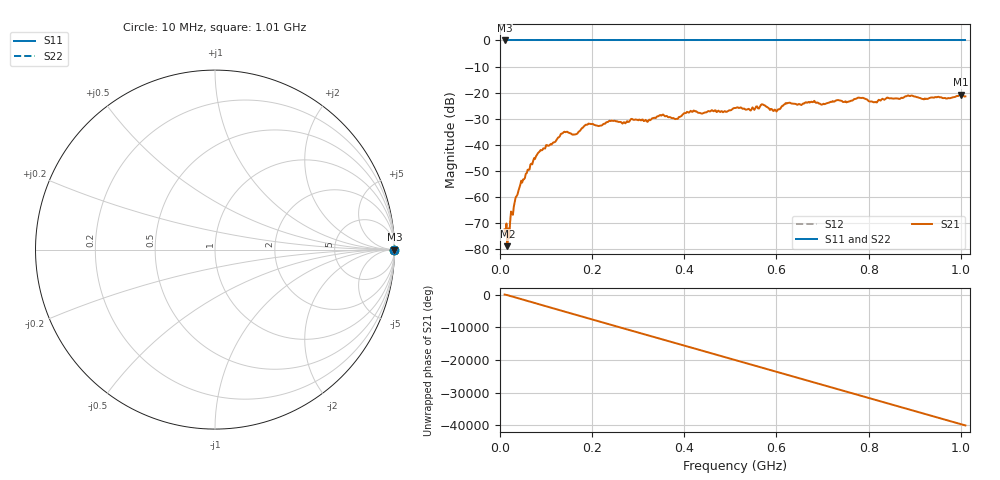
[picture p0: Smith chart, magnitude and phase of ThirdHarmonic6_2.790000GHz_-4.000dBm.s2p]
! 8/17/2025 7:12:22 AM
! C:\ANRITSUVNA\TEMP\TEMP.S2P
! CHANNEL.1
! TR.MEASUREMENT
! RAW.DATA
! RF.CORRECTION.OFF
! AVERAGING.OFF
! IF.BANDWIDTH: 5KHZ
! SWEEPTYPE:  FREQ.SWEEP(Linear)
! Reference Plane Port Info
! PORT:  PORT1  PORT2
! DISTANCE:  0  m  0  m
! TIME:  0  s  0  s
! PHASE.OFFSET:  0  deg.  0  deg.
! LOSS:  0  dB  0  dB
! REF.LOSS:  0  dB  0  dB
! REF.FREQ:  0  Hz  0  Hz
! Power Info
! POWER:  -20  dBm  -20  dBm
! EFF.POWER:  -20  dBm  -20  dBm
! SOURCE.ATTEN:  0  dB  0  dB
! TEST.ATTEN:  0  dB  0  dB
# GHZ S RI R 50.0
! FREQ.GHZ  S11RE  S11IM  S21RE  S21IM  S12RE  S12IM  S22RE  S22IM
!; PortSelection: Port_12
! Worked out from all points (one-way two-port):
!   501 points, 10 MHz to 1.01 GHz, reference 50 ohm
!   highest |S21| = -20.83 dB at 1 GHz (marker M1); lowest = -78.8 dB at 16 MHz (marker M2)
!   lowest |S11| = 0.0 dB at 10 MHz (marker M3)
!   |S11| at or under -10 dB: nowhere
!   |S22| runs from 0.0 to 0.0 dB; largest |S21 - S12| = 1.1
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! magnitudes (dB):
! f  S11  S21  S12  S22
! 10 MHz  0.0  -72.3  0.0  0.0
! 16 MHz  0.0  -78.8  0.0  0.0
! 42 MHz  0.0  -56.5  0.0  0.0
! 82 MHz  0.0  -43.2  0.0  0.0
! 136 MHz  0.0  -35.5  0.0  0.0
! 162 MHz  0.0  -36.0  0.0  0.0
! 178 MHz  0.0  -33.6  0.0  0.0
! 344 MHz  0.0  -29.0  0.0  0.0
! 382 MHz  0.0  -30.0  0.0  0.0
! 418 MHz  0.0  -27.3  0.0  0.0
! 510 MHz  0.0  -25.8  0.0  0.0
! 542 MHz  0.0  -26.6  0.0  0.0
! 570 MHz  0.0  -24.5  0.0  0.0
! 596 MHz  0.0  -26.5  0.0  0.0
! 624 MHz  0.0  -23.9  0.0  0.0
! 678 MHz  0.0  -23.6  0.0  0.0
! 700 MHz  0.0  -24.5  0.0  0.0
! 782 MHz  0.0  -22.0  0.0  0.0
! 814 MHz  0.0  -23.5  0.0  0.0
! 844 MHz  0.0  -22.1  0.0  0.0
! 1 GHz  0.0  -20.8  0.0  0.0
! 1.01 GHz  0.0  -21.4  0.0  0.0
